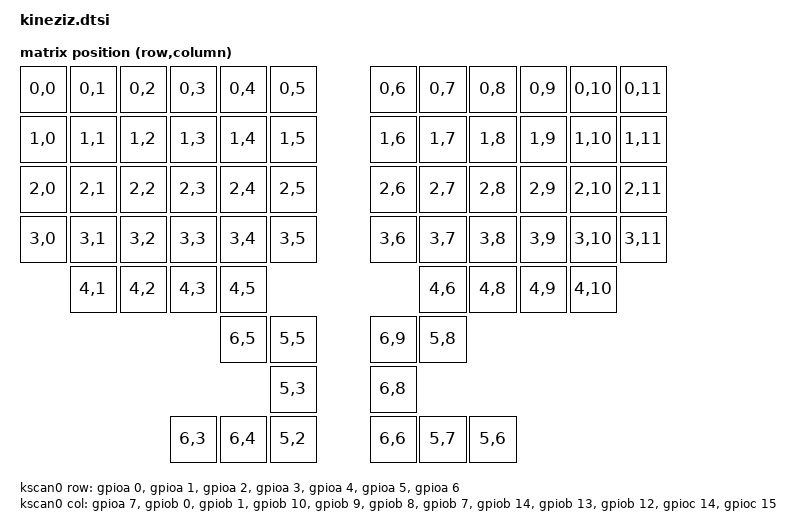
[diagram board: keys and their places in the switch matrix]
/*
 * Copyright (c) 2020 Pete Johanson
 *
 * SPDX-License-Identifier: MIT
 */

#include <dt-bindings/zmk/matrix_transform.h>
#include <physical_layouts.dtsi>

/ {
    chosen {
        zmk,kscan = &kscan0;
        zmk,physical-layout = &kineziz_black_layout;
    };

    kscan0: kscan {
        compatible = "zmk,kscan-gpio-matrix";
        wakeup-source;

        diode-direction = "row2col";
        row-gpios
            = <&gpioa  0 GPIO_ACTIVE_HIGH>
            , <&gpioa  1 GPIO_ACTIVE_HIGH>
            , <&gpioa  2 GPIO_ACTIVE_HIGH>
            , <&gpioa  3 GPIO_ACTIVE_HIGH>
            , <&gpioa  4 GPIO_ACTIVE_HIGH>
            , <&gpioa  5 GPIO_ACTIVE_HIGH>
            , <&gpioa  6 GPIO_ACTIVE_HIGH>
            ;

        col-gpios
            = <&gpioa  7 (GPIO_ACTIVE_HIGH | GPIO_PULL_DOWN)>
            , <&gpiob  0 (GPIO_ACTIVE_HIGH | GPIO_PULL_DOWN)>
            , <&gpiob  1 (GPIO_ACTIVE_HIGH | GPIO_PULL_DOWN)>
            , <&gpiob 10 (GPIO_ACTIVE_HIGH | GPIO_PULL_DOWN)>
            , <&gpiob  9 (GPIO_ACTIVE_HIGH | GPIO_PULL_DOWN)>
            , <&gpiob  8 (GPIO_ACTIVE_HIGH | GPIO_PULL_DOWN)>
            , <&gpiob  7 (GPIO_ACTIVE_HIGH | GPIO_PULL_DOWN)>
            , <&gpiob 14 (GPIO_ACTIVE_HIGH | GPIO_PULL_DOWN)>
            , <&gpiob 13 (GPIO_ACTIVE_HIGH | GPIO_PULL_DOWN)>
            , <&gpiob 12 (GPIO_ACTIVE_HIGH | GPIO_PULL_DOWN)>
            , <&gpioc 14 (GPIO_ACTIVE_HIGH | GPIO_PULL_DOWN)>
            , <&gpioc 15 (GPIO_ACTIVE_HIGH | GPIO_PULL_DOWN)>
            ;
    };

    default_transform: keymap_transform_0 {
        compatible = "zmk,matrix-transform";
        rows = <7>;
        columns = <12>;
        map = <
            RC(0,0) RC(0,1) RC(0,2) RC(0,3) RC(0,4) RC(0,5)            RC(0,6) RC(0,7) RC(0,8) RC(0,9) RC(0,10) RC(0,11)
            RC(1,0) RC(1,1) RC(1,2) RC(1,3) RC(1,4) RC(1,5)            RC(1,6) RC(1,7) RC(1,8) RC(1,9) RC(1,10) RC(1,11)
            RC(2,0) RC(2,1) RC(2,2) RC(2,3) RC(2,4) RC(2,5)            RC(2,6) RC(2,7) RC(2,8) RC(2,9) RC(2,10) RC(2,11)
            RC(3,0) RC(3,1) RC(3,2) RC(3,3) RC(3,4) RC(3,5)            RC(3,6) RC(3,7) RC(3,8) RC(3,9) RC(3,10) RC(3,11)
                    RC(4,1) RC(4,2) RC(4,3) RC(4,5)                            RC(4,6) RC(4,8) RC(4,9) RC(4,10)
                                            RC(6,5) RC(5,5)            RC(6,9) RC(5,8)
                                                    RC(5,3)            RC(6,8)
                                    RC(6,3) RC(6,4) RC(5,2)            RC(6,6) RC(5,7) RC(5,6)
        >;
    };

    kineziz_black_layout: kineziz_black_layout {
        compatible = "zmk,physical-layout";
        display-name = "Kineziz Black";
        transform = <&default_transform>;
        kscan = <&kscan0>;

        keys
            = <&key_physical_attrs 125 100    0   25       0     0     0>
            , <&key_physical_attrs 100 100  125   25       0     0     0>
            , <&key_physical_attrs 100 100  225    0       0     0     0>
            , <&key_physical_attrs 100 100  325    0       0     0     0>
            , <&key_physical_attrs 100 100  425    0       0     0     0>
            , <&key_physical_attrs 100 100  525    0       0     0     0>
            , <&key_physical_attrs 100 100  625    0       0     0     0>
            , <&key_physical_attrs 100 100 1075    0       0     0     0>
            , <&key_physical_attrs 100 100 1175    0       0     0     0>
            , <&key_physical_attrs 100 100 1275    0       0     0     0>
            , <&key_physical_attrs 100 100 1375    0       0     0     0>
            , <&key_physical_attrs 100 100 1475    0       0     0     0>
            , <&key_physical_attrs 100 100 1575   25       0     0     0>
            , <&key_physical_attrs 125 100 1675   25       0     0     0>
            , <&key_physical_attrs 125 100    0  125       0     0     0>
            , <&key_physical_attrs 100 100  125  125       0     0     0>
            , <&key_physical_attrs 100 100  225  100       0     0     0>
            , <&key_physical_attrs 100 100  325  100       0     0     0>
            , <&key_physical_attrs 100 100  425  100       0     0     0>
            , <&key_physical_attrs 100 100  525  100       0     0     0>
            , <&key_physical_attrs 100 100  625  100       0     0     0>
            , <&key_physical_attrs 100 100 1075  100       0     0     0>
            , <&key_physical_attrs 100 100 1175  100       0     0     0>
            , <&key_physical_attrs 100 100 1275  100       0     0     0>
            , <&key_physical_attrs 100 100 1375  100       0     0     0>
            , <&key_physical_attrs 100 100 1475  100       0     0     0>
            , <&key_physical_attrs 100 100 1575  125       0     0     0>
            , <&key_physical_attrs 125 100 1675  125       0     0     0>
            , <&key_physical_attrs 125 100    0  225       0     0     0>
            , <&key_physical_attrs 100 100  125  225       0     0     0>
            , <&key_physical_attrs 100 100  225  200       0     0     0>
            , <&key_physical_attrs 100 100  325  200       0     0     0>
            , <&key_physical_attrs 100 100  425  200       0     0     0>
            , <&key_physical_attrs 100 100  525  200       0     0     0>
            , <&key_physical_attrs 100 100  625  200       0     0     0>
            , <&key_physical_attrs 100 100  675  400    1500   525   400>
            , <&key_physical_attrs 100 100  775  400    1500   525   400>
            , <&key_physical_attrs 100 100  925  400 (-1500)  1275   400>
            , <&key_physical_attrs 100 100 1025  400 (-1500)  1275   400>
            , <&key_physical_attrs 100 100 1075  200       0     0     0>
            , <&key_physical_attrs 100 100 1175  200       0     0     0>
            , <&key_physical_attrs 100 100 1275  200       0     0     0>
            , <&key_physical_attrs 100 100 1375  200       0     0     0>
            , <&key_physical_attrs 100 100 1475  200       0     0     0>
            , <&key_physical_attrs 100 100 1575  225       0     0     0>
            , <&key_physical_attrs 125 100 1675  225       0     0     0>
            , <&key_physical_attrs 125 100    0  325       0     0     0>
            , <&key_physical_attrs 100 100  125  325       0     0     0>
            , <&key_physical_attrs 100 100  225  300       0     0     0>
            , <&key_physical_attrs 100 100  325  300       0     0     0>
            , <&key_physical_attrs 100 100  425  300       0     0     0>
            , <&key_physical_attrs 100 100  525  300       0     0     0>
            , <&key_physical_attrs 100 100  775  500    1500   525   400>
            , <&key_physical_attrs 100 100  925  500 (-1500)  1275   400>
            , <&key_physical_attrs 100 100 1175  300       0     0     0>
            , <&key_physical_attrs 100 100 1275  300       0     0     0>
            , <&key_physical_attrs 100 100 1375  300       0     0     0>
            , <&key_physical_attrs 100 100 1475  300       0     0     0>
            , <&key_physical_attrs 100 100 1575  325       0     0     0>
            , <&key_physical_attrs 125 100 1675  325       0     0     0>
            , <&key_physical_attrs 125 100    0  425       0     0     0>
            , <&key_physical_attrs 100 100  125  425       0     0     0>
            , <&key_physical_attrs 100 100  225  400       0     0     0>
            , <&key_physical_attrs 100 100  325  400       0     0     0>
            , <&key_physical_attrs 100 100  425  400       0     0     0>
            , <&key_physical_attrs 100 200  575  500    1500   525   400>
            , <&key_physical_attrs 100 200  675  500    1500   525   400>
            , <&key_physical_attrs 100 100  775  600    1500   525   400>
            , <&key_physical_attrs 100 100  925  600 (-1500)  1275   400>
            , <&key_physical_attrs 100 200 1025  500 (-1500)  1275   400>
            , <&key_physical_attrs 100 200 1125  500 (-1500)  1275   400>
            , <&key_physical_attrs 100 100 1275  400       0     0     0>
            , <&key_physical_attrs 100 100 1375  400       0     0     0>
            , <&key_physical_attrs 100 100 1475  400       0     0     0>
            , <&key_physical_attrs 100 100 1575  425       0     0     0>
            , <&key_physical_attrs 125 100 1675  425       0     0     0>
            ;
    };
};
